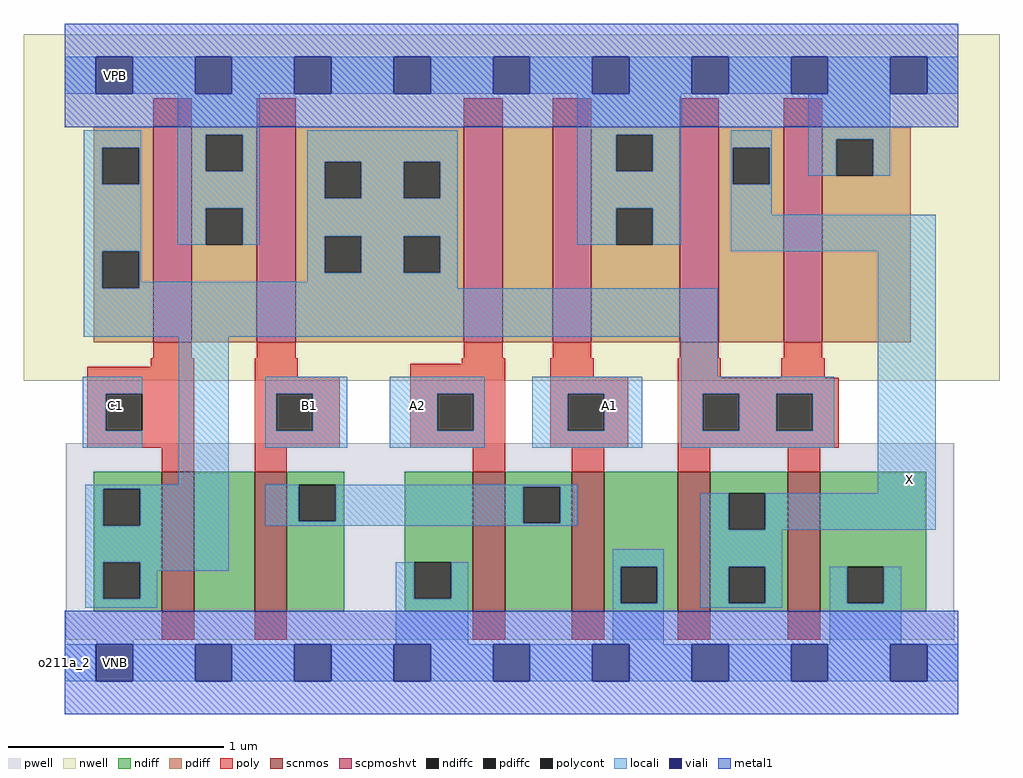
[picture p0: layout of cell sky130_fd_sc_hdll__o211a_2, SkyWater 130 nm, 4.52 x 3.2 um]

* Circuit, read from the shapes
.subckt sky130_fd_sc_hdll__o211a_2 A1 A2 B1 C1 VGND VNB VPB VPWR X
XM1 n1 C1 n2 VNB sky130_fd_pr__nfet_01v8 w=0.65 l=0.15
XM2 n3 B1 n1 VNB sky130_fd_pr__nfet_01v8 w=0.65 l=0.15
XM3 n3 A2 VGND VNB sky130_fd_pr__nfet_01v8 w=0.65 l=0.15
XM4 VGND A1 n3 VNB sky130_fd_pr__nfet_01v8 w=0.65 l=0.15
XM5 X n2 VGND VNB sky130_fd_pr__nfet_01v8 w=0.65 l=0.15 m=2
XM6 VPWR C1 n2 VPB sky130_fd_pr__pfet_01v8_hvt w=1 l=0.18
XM7 n2 B1 VPWR VPB sky130_fd_pr__pfet_01v8_hvt w=1 l=0.18
XM8 n4 A2 n2 VPB sky130_fd_pr__pfet_01v8_hvt w=1 l=0.18
XM9 VPWR A1 n4 VPB sky130_fd_pr__pfet_01v8_hvt w=1 l=0.18
XM10 X n2 VPWR VPB sky130_fd_pr__pfet_01v8_hvt w=1 l=0.18 m=2
.ends

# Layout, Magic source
magic
tech sky130A
magscale 1 2
<< nwell >>
rect -38 261 866 582
<< pwell >>
rect 1 21 824 203
rect 30 -17 64 21
<< scnmos >>
rect 90 47 120 177
rect 176 47 206 177
rect 378 47 408 177
rect 470 47 500 177
rect 568 47 598 177
rect 670 47 700 177
<< scpmoshvt >>
rect 82 297 118 497
rect 178 297 214 497
rect 370 297 406 497
rect 452 297 488 497
rect 570 297 606 497
rect 666 297 702 497
<< ndiff >>
rect 27 161 90 177
rect 27 127 36 161
rect 70 127 90 161
rect 27 93 90 127
rect 27 59 36 93
rect 70 59 90 93
rect 27 47 90 59
rect 120 47 176 177
rect 206 165 259 177
rect 206 131 217 165
rect 251 131 259 165
rect 206 47 259 131
rect 315 93 378 177
rect 315 59 324 93
rect 358 59 378 93
rect 315 47 378 59
rect 408 163 470 177
rect 408 129 425 163
rect 459 129 470 163
rect 408 47 470 129
rect 500 89 568 177
rect 500 55 515 89
rect 549 55 568 89
rect 500 47 568 55
rect 598 157 670 177
rect 598 123 615 157
rect 649 123 670 157
rect 598 89 670 123
rect 598 55 615 89
rect 649 55 670 89
rect 598 47 670 55
rect 700 89 798 177
rect 700 55 725 89
rect 759 55 798 89
rect 700 47 798 55
<< pdiff >>
rect 27 477 82 497
rect 27 443 35 477
rect 69 443 82 477
rect 27 381 82 443
rect 27 347 35 381
rect 69 347 82 381
rect 27 297 82 347
rect 118 489 178 497
rect 118 455 131 489
rect 165 455 178 489
rect 118 421 178 455
rect 118 387 131 421
rect 165 387 178 421
rect 118 297 178 387
rect 214 464 370 497
rect 214 430 241 464
rect 275 430 314 464
rect 348 430 370 464
rect 214 395 370 430
rect 214 361 241 395
rect 275 361 314 395
rect 348 361 370 395
rect 214 297 370 361
rect 406 297 452 497
rect 488 489 570 497
rect 488 455 511 489
rect 545 455 570 489
rect 488 421 570 455
rect 488 387 511 421
rect 545 387 570 421
rect 488 297 570 387
rect 606 477 666 497
rect 606 443 619 477
rect 653 443 666 477
rect 606 297 666 443
rect 702 485 784 497
rect 702 451 715 485
rect 749 451 784 485
rect 702 297 784 451
<< ndiffc >>
rect 36 127 70 161
rect 36 59 70 93
rect 217 131 251 165
rect 324 59 358 93
rect 425 129 459 163
rect 515 55 549 89
rect 615 123 649 157
rect 615 55 649 89
rect 725 55 759 89
<< pdiffc >>
rect 35 443 69 477
rect 35 347 69 381
rect 131 455 165 489
rect 131 387 165 421
rect 241 430 275 464
rect 314 430 348 464
rect 241 361 275 395
rect 314 361 348 395
rect 511 455 545 489
rect 511 387 545 421
rect 619 443 653 477
rect 715 451 749 485
<< poly >>
rect 82 497 118 523
rect 178 497 214 523
rect 370 497 406 523
rect 452 497 488 523
rect 570 497 606 523
rect 666 497 702 523
rect 82 282 118 297
rect 178 282 214 297
rect 370 282 406 297
rect 452 282 488 297
rect 570 282 606 297
rect 666 282 702 297
rect 80 274 120 282
rect 21 249 120 274
rect 21 215 38 249
rect 72 215 120 249
rect 21 199 120 215
rect 90 177 120 199
rect 176 265 216 282
rect 368 277 408 282
rect 176 249 255 265
rect 176 215 196 249
rect 230 215 255 249
rect 176 199 255 215
rect 320 249 408 277
rect 320 215 345 249
rect 379 215 408 249
rect 320 199 408 215
rect 450 265 490 282
rect 450 249 522 265
rect 450 215 466 249
rect 500 215 522 249
rect 450 199 522 215
rect 568 264 608 282
rect 664 264 704 282
rect 568 249 717 264
rect 568 215 591 249
rect 625 215 659 249
rect 693 215 717 249
rect 568 199 717 215
rect 176 177 206 199
rect 378 177 408 199
rect 470 177 500 199
rect 568 177 598 199
rect 670 177 700 199
rect 90 21 120 47
rect 176 21 206 47
rect 378 21 408 47
rect 470 21 500 47
rect 568 21 598 47
rect 670 21 700 47
<< polycont >>
rect 38 215 72 249
rect 196 215 230 249
rect 345 215 379 249
rect 466 215 500 249
rect 591 215 625 249
rect 659 215 693 249
<< locali >>
rect 0 527 29 561
rect 63 527 121 561
rect 155 527 213 561
rect 247 527 305 561
rect 339 527 397 561
rect 431 527 489 561
rect 523 527 581 561
rect 615 527 673 561
rect 707 527 765 561
rect 799 527 828 561
rect 18 477 71 493
rect 18 443 35 477
rect 69 443 71 477
rect 18 381 71 443
rect 105 489 181 527
rect 105 455 131 489
rect 165 455 181 489
rect 105 421 181 455
rect 105 387 131 421
rect 165 387 181 421
rect 225 464 364 493
rect 225 430 241 464
rect 275 430 314 464
rect 348 430 364 464
rect 225 395 364 430
rect 18 347 35 381
rect 69 353 71 381
rect 225 361 241 395
rect 275 361 314 395
rect 348 361 364 395
rect 475 489 571 527
rect 475 455 511 489
rect 545 455 571 489
rect 475 421 571 455
rect 475 387 511 421
rect 545 387 571 421
rect 617 477 655 493
rect 617 443 619 477
rect 653 443 655 477
rect 689 485 765 527
rect 689 451 715 485
rect 749 451 765 485
rect 617 415 655 443
rect 617 381 807 415
rect 225 353 364 361
rect 69 347 364 353
rect 18 302 605 347
rect 17 249 72 265
rect 17 215 38 249
rect 17 199 72 215
rect 106 165 152 302
rect 571 265 605 302
rect 186 249 262 265
rect 186 215 196 249
rect 230 215 262 249
rect 186 199 262 215
rect 301 249 389 265
rect 301 215 345 249
rect 379 215 389 249
rect 301 199 389 215
rect 433 249 535 265
rect 433 215 466 249
rect 500 215 535 249
rect 433 199 535 215
rect 571 249 713 265
rect 571 215 591 249
rect 625 215 659 249
rect 693 215 713 249
rect 571 199 713 215
rect 19 161 152 165
rect 19 127 36 161
rect 70 127 152 161
rect 186 131 217 165
rect 251 163 475 165
rect 251 131 425 163
rect 186 129 425 131
rect 459 129 475 163
rect 753 157 807 381
rect 186 127 475 129
rect 19 93 152 127
rect 589 123 615 157
rect 649 123 807 157
rect 19 59 36 93
rect 70 85 152 93
rect 70 59 86 85
rect 19 51 86 59
rect 307 59 324 93
rect 358 59 374 93
rect 307 17 374 59
rect 508 89 555 105
rect 508 55 515 89
rect 549 55 555 89
rect 508 17 555 55
rect 589 89 665 123
rect 589 55 615 89
rect 649 55 665 89
rect 589 51 665 55
rect 709 55 725 89
rect 759 55 775 89
rect 709 17 775 55
rect 0 -17 29 17
rect 63 -17 121 17
rect 155 -17 213 17
rect 247 -17 305 17
rect 339 -17 397 17
rect 431 -17 489 17
rect 523 -17 581 17
rect 615 -17 673 17
rect 707 -17 765 17
rect 799 -17 828 17
<< viali >>
rect 29 527 63 561
rect 121 527 155 561
rect 213 527 247 561
rect 305 527 339 561
rect 397 527 431 561
rect 489 527 523 561
rect 581 527 615 561
rect 673 527 707 561
rect 765 527 799 561
rect 29 -17 63 17
rect 121 -17 155 17
rect 213 -17 247 17
rect 305 -17 339 17
rect 397 -17 431 17
rect 489 -17 523 17
rect 581 -17 615 17
rect 673 -17 707 17
rect 765 -17 799 17
<< metal1 >>
rect 0 561 828 592
rect 0 527 29 561
rect 63 527 121 561
rect 155 527 213 561
rect 247 527 305 561
rect 339 527 397 561
rect 431 527 489 561
rect 523 527 581 561
rect 615 527 673 561
rect 707 527 765 561
rect 799 527 828 561
rect 0 496 828 527
rect 0 17 828 48
rect 0 -17 29 17
rect 63 -17 121 17
rect 155 -17 213 17
rect 247 -17 305 17
rect 339 -17 397 17
rect 431 -17 489 17
rect 523 -17 581 17
rect 615 -17 673 17
rect 707 -17 765 17
rect 799 -17 828 17
rect 0 -48 828 -17
<< labels >>
flabel locali s 30 221 64 255 0 FreeSans 340 0 0 0 C1
port 4 nsew signal input
flabel locali s 210 221 244 255 0 FreeSans 340 0 0 0 B1
port 3 nsew signal input
flabel locali s 310 221 344 255 0 FreeSans 340 0 0 0 A2
port 2 nsew signal input
flabel locali s 488 221 522 255 0 FreeSans 340 0 0 0 A1
port 1 nsew signal input
flabel locali s 766 153 800 187 0 FreeSans 340 0 0 0 X
port 9 nsew signal output
flabel pwell s 30 -17 64 17 0 FreeSans 200 0 0 0 VNB
port 6 nsew ground bidirectional
flabel nwell s 30 527 64 561 0 FreeSans 200 0 0 0 VPB
port 7 nsew power bidirectional
flabel metal1 s 30 527 64 561 0 FreeSans 200 0 0 0 VPWR
port 8 nsew power bidirectional
flabel metal1 s 30 -17 64 17 0 FreeSans 200 0 0 0 VGND
port 5 nsew ground bidirectional
rlabel comment s 0 0 0 0 4 o211a_2
<< properties >>
string LEFsite unithd
string LEFclass CORE
string FIXED_BBOX 0 0 828 544
string GDS_FILE $PDKPATH/libs.ref/sky130_fd_sc_hdll/gds/sky130_fd_sc_hdll.gds
string LEFsymmetry X Y R90
string GDS_END 1041318
string GDS_START 1034722
string LEFproperties maskLayoutSubType "abstract" prCellType "standard" originalViewName "layout"
<< end >>
